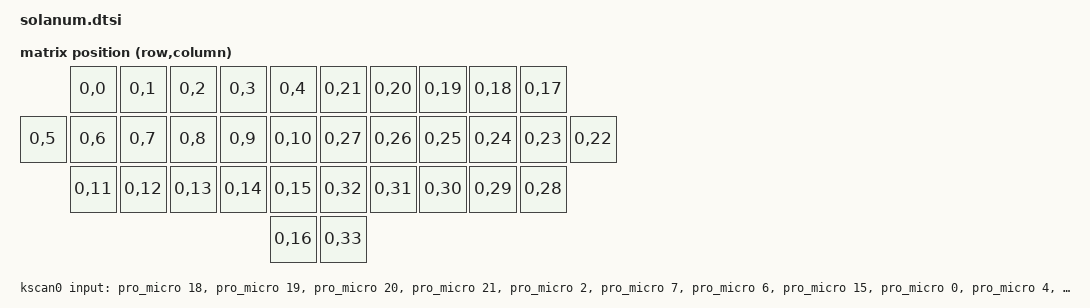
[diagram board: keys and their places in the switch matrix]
/*
 * Copyright (c) 2024 Travis Mick
 * SPDX-License-Identifier: MIT
 */

#include <dt-bindings/zmk/matrix_transform.h>
#include "solanum-layouts.dtsi"

/ {

	chosen {
		zmk,kscan = &kscan0;
		zmk,physical_layout = &physical_layout0;
	};

	default_transform: keymap_transform_0 {
		compatible = "zmk,matrix-transform";
		columns = <34>;
		rows = <1>;
		/*
		 * Full 34-key matrix, identical to upstream eggsworks/zmk-config.
		 *
		 * PIN NAMING TRAP: the Solanum QMK port lists the serial pin as
		 * AVR port pin "D3". AVR PD3 is the Pro Micro pad labelled **D1**
		 * (TXO), NOT the pad labelled D3. In pro_micro connector indices
		 * that is <&pro_micro 1>, which on the nice!nano is gpio0.6.
		 * Pro Micro pad D3 (<&pro_micro 3>) is AVR PD0 and carries a key
		 * switch in the QMK direct matrix, so it MUST stay in kscan.
		 *
		 * The earlier attempt removed <&pro_micro 3> from kscan and moved
		 * the UART onto gpio0.20 (= pad D4/A6, AVR PD4, also a key). That
		 * dropped one key per half AND put the UART on a switch net, and
		 * left the real serial pad (gpio0.6) unused -- hence no link.
		 */
		map = <
			         RC(0,0)  RC(0,1)  RC(0,2)  RC(0,3)  RC(0,4)        RC(0,21) RC(0,20) RC(0,19) RC(0,18) RC(0,17)
	        RC(0,5)  RC(0,6)  RC(0,7)  RC(0,8)  RC(0,9)  RC(0,10)       RC(0,27) RC(0,26) RC(0,25) RC(0,24) RC(0,23) RC(0,22)
			         RC(0,11) RC(0,12) RC(0,13) RC(0,14) RC(0,15)       RC(0,32) RC(0,31) RC(0,30) RC(0,29) RC(0,28)
			                                             RC(0,16)       RC(0,33)
		>;
	};

	kscan0: kscan {
		compatible = "zmk,kscan-gpio-direct";
		wakeup-source;
		input-gpios =
            <&pro_micro 18 (GPIO_ACTIVE_LOW | GPIO_PULL_UP)>,
            <&pro_micro 19 (GPIO_ACTIVE_LOW | GPIO_PULL_UP)>,
            <&pro_micro 20 (GPIO_ACTIVE_LOW | GPIO_PULL_UP)>,
            <&pro_micro 21 (GPIO_ACTIVE_LOW | GPIO_PULL_UP)>,
            <&pro_micro  2 (GPIO_ACTIVE_LOW | GPIO_PULL_UP)>,
            <&pro_micro  7 (GPIO_ACTIVE_LOW | GPIO_PULL_UP)>,
            <&pro_micro  6 (GPIO_ACTIVE_LOW | GPIO_PULL_UP)>,
            <&pro_micro 15 (GPIO_ACTIVE_LOW | GPIO_PULL_UP)>,
            <&pro_micro  0 (GPIO_ACTIVE_LOW | GPIO_PULL_UP)>,
            <&pro_micro  4 (GPIO_ACTIVE_LOW | GPIO_PULL_UP)>,
            <&pro_micro  3 (GPIO_ACTIVE_LOW | GPIO_PULL_UP)>,
            <&pro_micro  8 (GPIO_ACTIVE_LOW | GPIO_PULL_UP)>,
            <&pro_micro  9 (GPIO_ACTIVE_LOW | GPIO_PULL_UP)>,
            <&pro_micro  5 (GPIO_ACTIVE_LOW | GPIO_PULL_UP)>,
            <&pro_micro 14 (GPIO_ACTIVE_LOW | GPIO_PULL_UP)>,
            <&pro_micro 16 (GPIO_ACTIVE_LOW | GPIO_PULL_UP)>,
            <&pro_micro 10 (GPIO_ACTIVE_LOW | GPIO_PULL_UP)>
		;
	};

	wired_split {
		compatible = "zmk,wired-split";
		device = <&pro_micro_serial>;
		half-duplex;
	};

};
